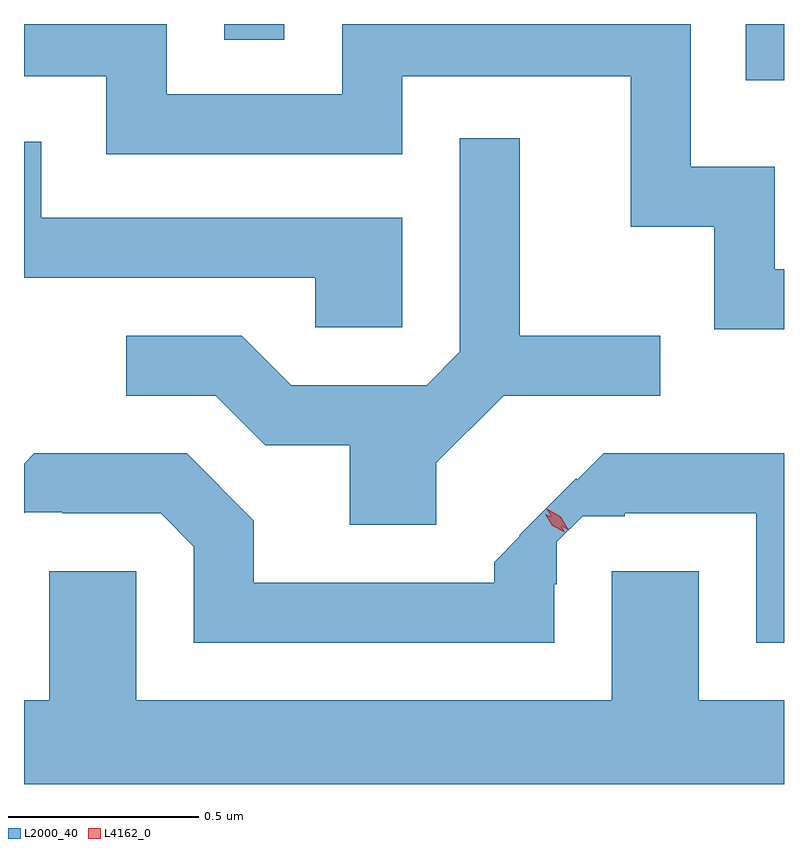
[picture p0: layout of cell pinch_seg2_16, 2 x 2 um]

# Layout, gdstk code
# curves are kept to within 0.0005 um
import gdstk
lib = gdstk.Library(unit=1e-6, precision=1e-09)
def R(c, l, rs):  # rectangles x0, y0, x1, y1
    for r in rs: c.add(gdstk.rectangle(r[:2], r[2:], *l))
def P(c, l, *ps):  # polygons
    for p in ps: c.add(gdstk.Polygon(p, *l))
L2000_40 = (2000, 40)
L4162_0 = (4162, 0)

pinch_seg2_16 = lib.new_cell('pinch_seg2_16')
R(pinch_seg2_16, L2000_40, [(1736.493,1112.376,1736.594,1112.524), (1735.121,1112.483,1735.279,1112.524)])
P(pinch_seg2_16, L2000_40, [(1736.594,1111.879),(1736.569,1111.879),(1736.569,1112.149),(1736.349,1112.149),(1736.349,1112.524),(1735.431,1112.524),(1735.431,1112.339),(1734.969,1112.339),(1734.969,1112.524),(1734.594,1112.524),(1734.594,1112.386),(1734.811,1112.386),(1734.811,1112.181),(1735.589,1112.181),(1735.589,1112.386),(1736.191,1112.386),(1736.191,1111.991),(1736.411,1111.991),(1736.411,1111.721),(1736.594,1111.721)],
  [(1735.679,1111.369),(1735.857,1111.546),(1736.268,1111.546),(1736.268,1111.704),(1735.899,1111.704),(1735.899,1112.223),(1735.741,1112.223),(1735.741,1111.662),(1735.654,1111.574),(1735.297,1111.574),(1735.167,1111.704),(1734.863,1111.704),(1734.863,1111.546),(1735.099,1111.546),(1735.229,1111.416),(1735.451,1111.416),(1735.451,1111.206),(1735.679,1111.206)],
  [(1735.589,1112.014),(1734.639,1112.014),(1734.639,1112.214),(1734.594,1112.214),(1734.594,1111.856),(1735.361,1111.856),(1735.361,1111.726),(1735.589,1111.726)],
  [(1735.989,1111.05),(1735.996,1111.05),(1735.996,1111.161),(1736.064,1111.229),(1736.175,1111.229),(1736.175,1111.236),(1736.521,1111.236),(1736.521,1110.896),(1736.594,1110.896),(1736.594,1111.394),(1736.119,1111.394),(1736.05,1111.325),(1736.047,1111.329),(1735.897,1111.178),(1735.899,1111.176),(1735.831,1111.108),(1735.831,1111.054),(1735.199,1111.054),(1735.199,1111.217),(1735.022,1111.394),(1734.621,1111.394),(1734.594,1111.367),(1734.594,1111.236),(1734.597,1111.239),(1734.695,1111.239),(1734.695,1111.236),(1734.954,1111.236),(1735.041,1111.149),(1735.041,1110.896),(1735.989,1110.896)],
  [(1736.594,1110.744),(1736.369,1110.744),(1736.369,1111.084),(1736.141,1111.084),(1736.141,1110.744),(1734.889,1110.744),(1734.889,1111.084),(1734.661,1111.084),(1734.661,1110.744),(1734.594,1110.744),(1734.594,1110.524),(1736.594,1110.524)])
P(pinch_seg2_16, L4162_0, [(1736.028,1111.192),(1735.992,1111.213),(1735.97,1111.247),(1735.97,1111.248),(1735.971,1111.248),(1736.006,1111.227),(1736.028,1111.192),(1736.028,1111.192)],
  [(1736.015,1111.188),(1735.984,1111.204),(1735.966,1111.234),(1735.966,1111.234),(1735.967,1111.234),(1735.998,1111.219),(1736.016,1111.189),(1736.016,1111.188)])

lib.write_gds('pinch_seg2_16.gds')
